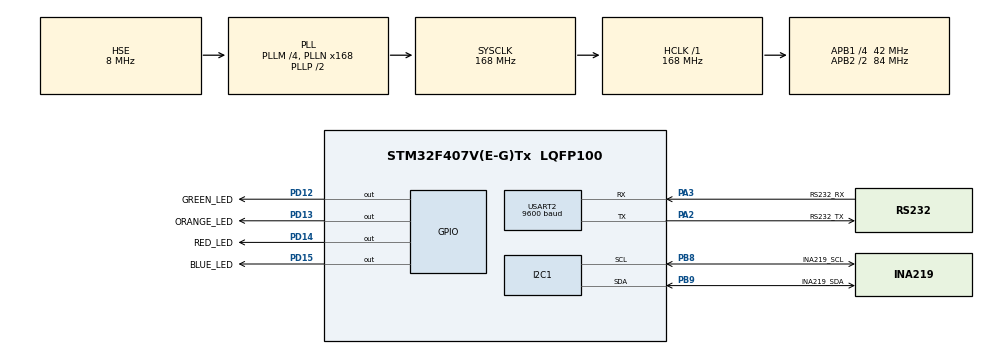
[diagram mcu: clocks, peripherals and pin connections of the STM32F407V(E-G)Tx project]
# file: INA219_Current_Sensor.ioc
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I2C1.I2C_Mode=I2C_Fast
Mcu.Family=STM32F4
Mcu.Name=STM32F407V(E-G)Tx
Mcu.Package=LQFP100
NVIC.PriorityGroup=NVIC_PRIORITYGROUP_4
PA2.GPIO_Label=RS232_TX
PA2.Mode=Asynchronous
PA2.Signal=USART2_TX
PA3.GPIO_Label=RS232_RX
PA3.Mode=Asynchronous
PA3.Signal=USART2_RX
PB8.GPIO_Label=INA219_SCL
PB8.Mode=I2C
PB8.Signal=I2C1_SCL
PB9.GPIO_Label=INA219_SDA
PB9.Mode=I2C
PB9.Signal=I2C1_SDA
PD12.GPIO_Label=GREEN_LED
PD12.Signal=GPIO_Output
PD13.GPIO_Label=ORANGE_LED
PD13.Signal=GPIO_Output
PD14.GPIO_Label=RED_LED
PD14.Signal=GPIO_Output
PD15.GPIO_Label=BLUE_LED
PD15.Signal=GPIO_Output
PH0-OSC_IN.GPIO_Label=OSC_IN
PH0-OSC_IN.Mode=HSE-External-Oscillator
PH0-OSC_IN.Signal=RCC_OSC_IN
PH1-OSC_OUT.GPIO_Label=OSC_OUT
PH1-OSC_OUT.Mode=HSE-External-Oscillator
PH1-OSC_OUT.Signal=RCC_OSC_OUT
ProjectManager.HeapSize=0x200
ProjectManager.StackSize=0x400
ProjectManager.TargetToolchain=STM32CubeIDE
RCC.48MHZClocksFreq_Value=84000000
RCC.AHBFreq_Value=168000000
RCC.APB1CLKDivider=RCC_HCLK_DIV4
RCC.APB1Freq_Value=42000000
RCC.APB1TimFreq_Value=84000000
RCC.APB2CLKDivider=RCC_HCLK_DIV2
RCC.APB2Freq_Value=84000000
RCC.APB2TimFreq_Value=168000000
RCC.CortexFreq_Value=168000000
RCC.EnbaleCSS=true
RCC.HCLKFreq_Value=168000000
RCC.HSE_VALUE=8000000
RCC.HSI_VALUE=16000000
RCC.LSE_VALUE=32768
RCC.PLLM=4
RCC.PLLN=168
RCC.PLLSourceVirtual=RCC_PLLSOURCE_HSE
RCC.SYSCLKFreq_VALUE=168000000
RCC.SYSCLKSource=RCC_SYSCLKSOURCE_PLLCLK
RCC.VCOOutputFreq_Value=336000000
USART2.BaudRate=9600
USART2.VirtualMode=VM_ASYNC
board=custom

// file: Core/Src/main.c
/* USER CODE BEGIN Header */
/**
  ******************************************************************************
  * @file           : main.c
  * @brief          : Main program body
  ******************************************************************************
  * @attention
  *
  * Copyright (c) 2024 STMicroelectronics.
  * All rights reserved.
  *
  * This software is licensed under terms that can be found in the LICENSE file
  * in the root directory of this software component.
  * If no LICENSE file comes with this software, it is provided AS-IS.
  *
  ******************************************************************************
  */
/* USER CODE END Header */
#include "main.h"

I2C_HandleTypeDef hi2c1;

UART_HandleTypeDef huart2;

/* USER CODE BEGIN PV */
ina219_config ina219={0};
double Current=0,Shunt_Voltage=0,Bus_Voltage=0,Power=0;
char tx_buff[50]={0};
double buffer[MEDIAN_FILTER_N_VALUE]={0};
double filter_result_current=0,filter_result_bus_voltage=0,filter_result_shunt_voltage=0,filter_result_power=0;
struct ina219_moving_filter mov={0};
/* USER CODE END PV */

void SystemClock_Config(void);
static void MX_GPIO_Init(void);
static void MX_I2C1_Init(void);
static void MX_USART2_UART_Init(void);

int main(void)
{

  /* MCU Configuration--------------------------------------------------------*/

  /* Reset of all peripherals, Initializes the Flash interface and the Systick. */
  HAL_Init();

  /* Configure the system clock */
  SystemClock_Config();

  /* USER CODE BEGIN SysInit */
  SystemInit();	//FPU Enable
  /* USER CODE END SysInit */

  /* Initialize all configured peripherals */
  MX_GPIO_Init();
  MX_I2C1_Init();
  MX_USART2_UART_Init();
  /* USER CODE BEGIN 2 */

  /*******************************
   * 	INA219 Sensor Testing
   ******************************/
  ina219_selftest();

  /*******************************
   * 	INA219 Init Settings
   ******************************/
  ina219.bus_voltage_range = INA219_BUS_VOLTAGE_RANGE_32V;
  ina219.pga = INA219_GAIN_1;
  ina219.bus_adc_resolution = INA219_BUS_ADC_MODE_12BIT;
  ina219.shunt_adc_resolution = INA219_SHUNT_ADC_MODE_12BIT;
  ina219.operating_mode = INA219_MODE_SHUNT_AND_BUS_CONTINOUS;
  ina219_init(ina219);

  /********************************************
   *	INA219 Calibration Value Setting
   *******************************************/
  ina219_calculate_and_write_calibration_value(ina219);

  /* USER CODE END 2 */

  /* Infinite loop */
  while (1)
  {

    /* USER CODE BEGIN 3 */

	  Bus_Voltage = ina219_read_bus_voltage();
	  Shunt_Voltage = ina219_read_shunt_voltage();
	  Current = ina219_read_shunt_and_bus_current(ina219);
	  Power = ina219_read_bus_power(ina219);

	  /**********************************
	   *  	 average moving filter		*
	   **********************************/

	  /**
	   *  İstenilen veri adedi kadar buffera depola
	   */
	  for(uint32_t count=0;count<__array_length(buffer);count++)
	  {
		  mov.current[count] = ina219_read_shunt_and_bus_current(ina219);
		  mov.bus_voltage[count] = ina219_read_bus_voltage();
		  mov.shunt_voltage[count] = ina219_read_shunt_voltage();
		  mov.power[count] = ina219_read_bus_power(ina219);
	  }

	  /**
	   *  Depoladığın verileri filtreden geçir
	   */
	  filter_result_current = ina219_moving_average_filter(mov.current,__array_length(buffer));
	  filter_result_bus_voltage = ina219_moving_average_filter(mov.bus_voltage,__array_length(buffer));
	  filter_result_shunt_voltage = ina219_moving_average_filter(mov.shunt_voltage,__array_length(buffer));
	  filter_result_power = ina219_moving_average_filter(mov.power,__array_length(buffer));

	  /**
	   *  Filtrelenmiş verileri ve filtrelenmemiş verileri seri porta aktar
	   */
	  HAL_UART_Transmit(&huart2,(uint8_t*)"****************",strlen("****************"),HAL_MAX_DELAY);
	  sprintf(tx_buff,"\n"); // @suppress("Float formatting support")
	  HAL_UART_Transmit(&huart2,(uint8_t*)tx_buff,strlen(tx_buff),HAL_MAX_DELAY);

	  HAL_UART_Transmit(&huart2,(char*)"Non-Filter Result Bus Voltage	",strlen("Non-Filter Result Bus Voltage	"),HAL_MAX_DELAY);
	  sprintf(tx_buff,"%f   V\n",Bus_Voltage); // @suppress("Float formatting support")
	  HAL_UART_Transmit(&huart2,(uint8_t*)tx_buff,strlen(tx_buff),HAL_MAX_DELAY);

	  HAL_UART_Transmit(&huart2,(char*)"Non-Filter Result Shunt Voltage	",strlen("Non-Filter Result Shunt Voltage	"),HAL_MAX_DELAY);
	  sprintf(tx_buff,"%f  mV\n",Shunt_Voltage); // @suppress("Float formatting support")
	  HAL_UART_Transmit(&huart2,(uint8_t*)tx_buff,strlen(tx_buff),HAL_MAX_DELAY);

	  HAL_UART_Transmit(&huart2,(char*)"Non-Filter Result Current     	",strlen("Non-Filter Result Current     	"),HAL_MAX_DELAY);
	  sprintf(tx_buff,"%f  mA\n",Current); // @suppress("Float formatting support")
	  HAL_UART_Transmit(&huart2,(uint8_t*)tx_buff,strlen(tx_buff),HAL_MAX_DELAY);

	  HAL_UART_Transmit(&huart2,(char*)"Non-Filter Result Power     	",strlen("Non-Filter Result Power     	"),HAL_MAX_DELAY);
	  sprintf(tx_buff,"%f mW\n",Power); // @suppress("Float formatting support")
	  HAL_UART_Transmit(&huart2,(uint8_t*)tx_buff,strlen(tx_buff),HAL_MAX_DELAY);

	  sprintf(tx_buff,"\n\n"); // @suppress("Float formatting support")
	  HAL_UART_Transmit(&huart2,(uint8_t*)tx_buff,strlen(tx_buff),HAL_MAX_DELAY);
	  HAL_UART_Transmit(&huart2,(uint8_t*)"****************",strlen("****************"),HAL_MAX_DELAY);
	  sprintf(tx_buff,"\n"); // @suppress("Float formatting support")
	  HAL_UART_Transmit(&huart2,(uint8_t*)tx_buff,strlen(tx_buff),HAL_MAX_DELAY);

	  HAL_UART_Transmit(&huart2,(char*)"Filter Result Bus Voltage	",strlen("Filter Result Bus Voltage	"),HAL_MAX_DELAY);
	  sprintf(tx_buff,"%f   V\n",filter_result_bus_voltage); // @suppress("Float formatting support")
	  HAL_UART_Transmit(&huart2,(uint8_t*)tx_buff,strlen(tx_buff),HAL_MAX_DELAY);

	  HAL_UART_Transmit(&huart2,(char*)"Filter Result Shunt Voltage	",strlen("Filter Result Shunt Voltage	"),HAL_MAX_DELAY);
	  sprintf(tx_buff,"%f  mV\n",filter_result_shunt_voltage); // @suppress("Float formatting support")
	  HAL_UART_Transmit(&huart2,(uint8_t*)tx_buff,strlen(tx_buff),HAL_MAX_DELAY);

	  HAL_UART_Transmit(&huart2,(char*)"Filter Result Current     	",strlen("Filter Result Current     	"),HAL_MAX_DELAY);
	  sprintf(tx_buff,"%f  mA\n",filter_result_current); // @suppress("Float formatting support")
	  HAL_UART_Transmit(&huart2,(uint8_t*)tx_buff,strlen(tx_buff),HAL_MAX_DELAY);

	  HAL_UART_Transmit(&huart2,(char*)"Filter Result Power     	",strlen("Filter Result Power     	"),HAL_MAX_DELAY);
	  sprintf(tx_buff,"%f mW\n",filter_result_power); // @suppress("Float formatting support")
	  HAL_UART_Transmit(&huart2,(uint8_t*)tx_buff,strlen(tx_buff),HAL_MAX_DELAY);

	  sprintf(tx_buff,"\n"); // @suppress("Float formatting support")
	  HAL_UART_Transmit(&huart2,(uint8_t*)tx_buff,strlen(tx_buff),HAL_MAX_DELAY);
	  HAL_UART_Transmit(&huart2,(uint8_t*)"****************",strlen("****************"),HAL_MAX_DELAY);

	  sprintf(tx_buff,"\n"); // @suppress("Float formatting support")
	  HAL_UART_Transmit(&huart2,(uint8_t*)tx_buff,strlen(tx_buff),HAL_MAX_DELAY);
  }
  /* USER CODE END 3 */
}

void SystemClock_Config(void)
{
  RCC_OscInitTypeDef RCC_OscInitStruct = {0};
  RCC_ClkInitTypeDef RCC_ClkInitStruct = {0};

  /** Configure the main internal regulator output voltage
  */
  __HAL_RCC_PWR_CLK_ENABLE();
  __HAL_PWR_VOLTAGESCALING_CONFIG(PWR_REGULATOR_VOLTAGE_SCALE1);

  /** Initializes the RCC Oscillators according to the specified parameters
  * in the RCC_OscInitTypeDef structure.
  */
  RCC_OscInitStruct.OscillatorType = RCC_OSCILLATORTYPE_HSE;
  RCC_OscInitStruct.HSEState = RCC_HSE_ON;
  RCC_OscInitStruct.PLL.PLLState = RCC_PLL_ON;
  RCC_OscInitStruct.PLL.PLLSource = RCC_PLLSOURCE_HSE;
  RCC_OscInitStruct.PLL.PLLM = 4;
  RCC_OscInitStruct.PLL.PLLN = 168;
  RCC_OscInitStruct.PLL.PLLP = RCC_PLLP_DIV2;
  RCC_OscInitStruct.PLL.PLLQ = 4;
  if (HAL_RCC_OscConfig(&RCC_OscInitStruct) != HAL_OK)
  {
    Error_Handler();
  }

  /** Initializes the CPU, AHB and APB buses clocks
  */
  RCC_ClkInitStruct.ClockType = RCC_CLOCKTYPE_HCLK|RCC_CLOCKTYPE_SYSCLK
                              |RCC_CLOCKTYPE_PCLK1|RCC_CLOCKTYPE_PCLK2;
  RCC_ClkInitStruct.SYSCLKSource = RCC_SYSCLKSOURCE_PLLCLK;
  RCC_ClkInitStruct.AHBCLKDivider = RCC_SYSCLK_DIV1;
  RCC_ClkInitStruct.APB1CLKDivider = RCC_HCLK_DIV4;
  RCC_ClkInitStruct.APB2CLKDivider = RCC_HCLK_DIV2;

  if (HAL_RCC_ClockConfig(&RCC_ClkInitStruct, FLASH_LATENCY_5) != HAL_OK)
  {
    Error_Handler();
  }

  /** Enables the Clock Security System
  */
  HAL_RCC_EnableCSS();
}

static void MX_I2C1_Init(void)
{

  hi2c1.Instance = I2C1;
  hi2c1.Init.ClockSpeed = 400000;
  hi2c1.Init.DutyCycle = I2C_DUTYCYCLE_2;
  hi2c1.Init.OwnAddress1 = 0;
  hi2c1.Init.AddressingMode = I2C_ADDRESSINGMODE_7BIT;
  hi2c1.Init.DualAddressMode = I2C_DUALADDRESS_DISABLE;
  hi2c1.Init.OwnAddress2 = 0;
  hi2c1.Init.GeneralCallMode = I2C_GENERALCALL_DISABLE;
  hi2c1.Init.NoStretchMode = I2C_NOSTRETCH_DISABLE;
  if (HAL_I2C_Init(&hi2c1) != HAL_OK)
  {
    Error_Handler();
  }

}

static void MX_USART2_UART_Init(void)
{

  huart2.Instance = USART2;
  huart2.Init.BaudRate = 9600;
  huart2.Init.WordLength = UART_WORDLENGTH_8B;
  huart2.Init.StopBits = UART_STOPBITS_1;
  huart2.Init.Parity = UART_PARITY_NONE;
  huart2.Init.Mode = UART_MODE_TX_RX;
  huart2.Init.HwFlowCtl = UART_HWCONTROL_NONE;
  huart2.Init.OverSampling = UART_OVERSAMPLING_16;
  if (HAL_UART_Init(&huart2) != HAL_OK)
  {
    Error_Handler();
  }

}

static void MX_GPIO_Init(void)
{
  GPIO_InitTypeDef GPIO_InitStruct = {0};

  /* GPIO Ports Clock Enable */
  __HAL_RCC_GPIOH_CLK_ENABLE();
  __HAL_RCC_GPIOA_CLK_ENABLE();
  __HAL_RCC_GPIOD_CLK_ENABLE();
  __HAL_RCC_GPIOB_CLK_ENABLE();

  /*Configure GPIO pin Output Level */
  HAL_GPIO_WritePin(GPIOD, GREEN_LED_Pin|ORANGE_LED_Pin|RED_LED_Pin|BLUE_LED_Pin, GPIO_PIN_RESET);

  /*Configure GPIO pins : GREEN_LED_Pin ORANGE_LED_Pin RED_LED_Pin BLUE_LED_Pin */
  GPIO_InitStruct.Pin = GREEN_LED_Pin|ORANGE_LED_Pin|RED_LED_Pin|BLUE_LED_Pin;
  GPIO_InitStruct.Mode = GPIO_MODE_OUTPUT_PP;
  GPIO_InitStruct.Pull = GPIO_NOPULL;
  GPIO_InitStruct.Speed = GPIO_SPEED_FREQ_LOW;
  HAL_GPIO_Init(GPIOD, &GPIO_InitStruct);

}

void Error_Handler(void)
{
  __disable_irq();
  while (1)
  {
  }
}
